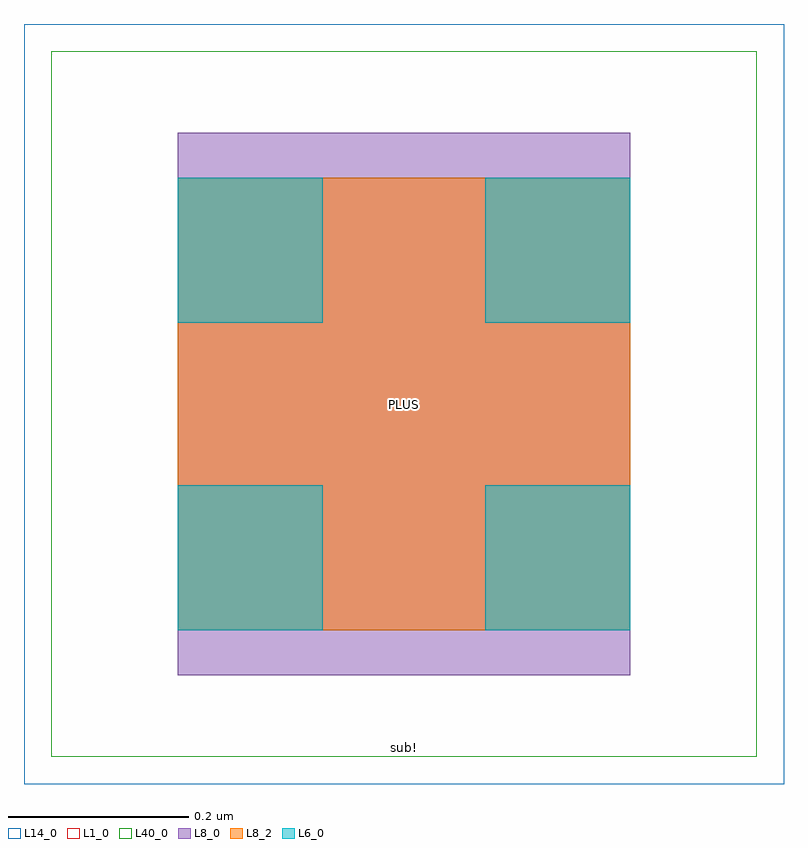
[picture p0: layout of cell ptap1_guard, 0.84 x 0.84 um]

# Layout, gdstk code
import gdstk
lib = gdstk.Library(unit=1e-6, precision=1e-09)
def R(c, l, rs):  # rectangles x0, y0, x1, y1
    for r in rs: c.add(gdstk.rectangle(r[:2], r[2:], *l))
L1_0 = (1, 0)
L6_0 = (6, 0)
L8_0 = (8, 0)
L8_2 = (8, 2)
L14_0 = (14, 0)
L40_0 = (40, 0)

ptap1_guard = lib.new_cell('ptap1_guard')
R(ptap1_guard, L1_0, [(0,0,0.78,0.78)])
R(ptap1_guard, L6_0, [(0.14,0.14,0.3,0.3), (0.48,0.14,0.64,0.3), (0.14,0.48,0.3,0.64), (0.48,0.48,0.64,0.64)])
R(ptap1_guard, L8_0, [(0.14,0.09,0.64,0.69), (0.14,0.14,0.64,0.64)])
R(ptap1_guard, L8_2, [(0.14,0.14,0.64,0.64)])
R(ptap1_guard, L14_0, [(-0.03,-0.03,0.81,0.81)])
R(ptap1_guard, L40_0, [(0,0,0.78,0.78)])
ptap1_guard.add(gdstk.Label('sub!', (0.39,0.01), layer=63, texttype=0))
ptap1_guard.add(gdstk.Label('sub!', (0.39,0.01), layer=40, texttype=0))
ptap1_guard.add(gdstk.Label('PLUS', (0.39,0.39), layer=8, texttype=25))

lib.write_gds('ptap1_guard.gds')
